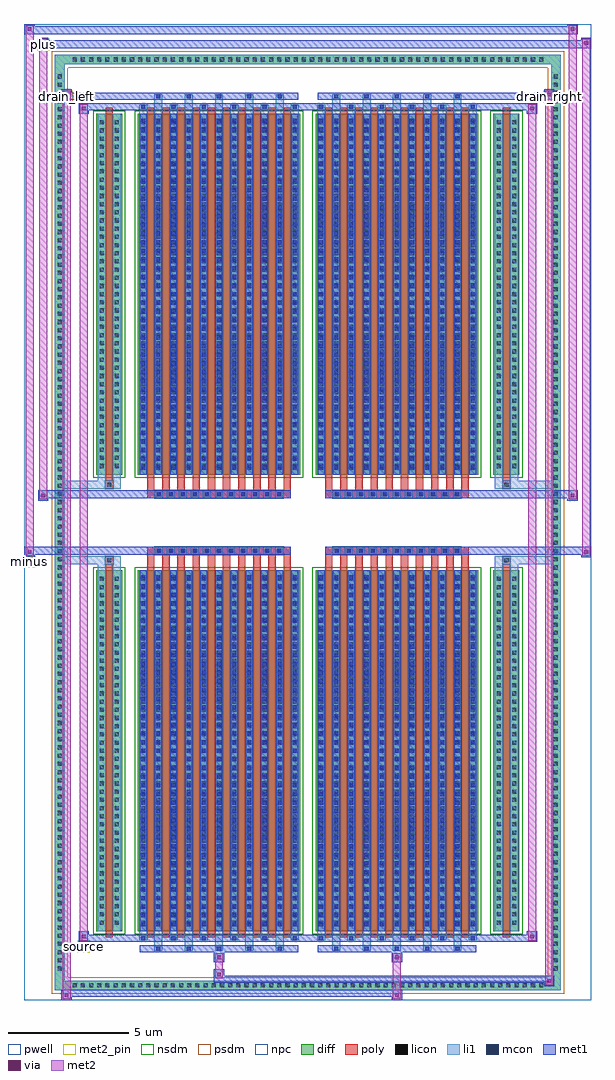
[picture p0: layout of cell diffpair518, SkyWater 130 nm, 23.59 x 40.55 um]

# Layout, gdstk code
import gdstk
lib = gdstk.Library(unit=1e-6, precision=5e-09)
def R(c, l, rs):  # rectangles x0, y0, x1, y1
    for r in rs: c.add(gdstk.rectangle(r[:2], r[2:], *l))
def A(c, l, x, y, w, h, nx, ny, dx, dy):  # array of equal rectangles
    R(c, l, [(x+i*dx, y+j*dy, x+i*dx+w, y+j*dy+h) for i in range(nx) for j in range(ny)])
def P(c, l, *ps):  # polygons
    for p in ps: c.add(gdstk.Polygon(p, *l))
pwell = (64, 44)
diff = (65, 20)
poly = (66, 20)
licon = (66, 44)
li1 = (67, 20)
mcon = (67, 44)
met1 = (68, 20)
via = (68, 44)
met2_pin = (69, 16)
met2 = (69, 20)
nsdm = (93, 44)
psdm = (94, 20)
npc = (95, 20)

diffpair518 = lib.new_cell('diffpair518')
R(diffpair518, pwell, [(-11.78,-19.84,11.78,20.71), (-9.1,-18.03,-0.01,-0.805), (0.01,-18.03,9.1,-0.805), (-9.1,0.805,-0.01,18.03), (0.01,0.805,9.1,18.03)])
A(diffpair518, diff, -9.895, -19.44, 0.41, 0.41, 58, 2, 0.34, 38.47)
A(diffpair518, diff, -10.51, -18.735, 0.41, 0.41, 1, 110, 0, 0.34)
A(diffpair518, diff, 10.1, -18.735, 0.41, 0.41, 1, 110, 0, 0.34)
R(diffpair518, diff, [(-9.895,-19.44,9.895,-19.03), (-10.51,-18.735,-10.1,18.735), (10.1,-18.735,10.51,18.735), (-8.79,-16.985,-7.71,-1.985), (-7.07,-16.985,-0.32,-1.985), (0.32,-16.985,7.07,-1.985), (7.71,-16.985,8.79,-1.985), (-8.79,1.985,-7.71,16.985), (-7.07,1.985,-0.32,16.985), (0.32,1.985,7.07,16.985), (7.71,1.985,8.79,16.985), (-9.895,19.03,9.895,19.44)])
P(diffpair518, diff, [(10.51,19.44),(-10.51,19.44),(-10.51,-19.03),(-10.1,-19.03),(-10.1,19.03),(10.1,19.03),(10.1,-19.03),(-10.1,-19.03),(-10.51,-19.03),(-10.51,-19.44),(10.51,-19.44)])
A(diffpair518, poly, -6.68, -17.235, 0.3, 15.5, 10, 2, 0.63, 18.97)
A(diffpair518, poly, 0.71, -17.235, 0.3, 15.5, 10, 2, 0.63, 18.97)
A(diffpair518, poly, -6.68, -1.735, 0.3, 0.4, 10, 2, 0.63, 3.07)
A(diffpair518, poly, 0.71, -1.735, 0.3, 0.4, 10, 2, 0.63, 3.07)
A(diffpair518, poly, -6.36, -1.335, 0.33, 0.33, 11, 2, 0.5, 2.34)
A(diffpair518, poly, 1.03, -1.335, 0.33, 0.33, 11, 2, 0.5, 2.34)
R(diffpair518, poly, [(-8.4,-17.235,-8.1,-1.735), (8.1,-17.235,8.4,-1.735), (-8.415,-1.735,-8.085,-1.405), (-8.415,-1.735,-8.085,-1.405), (8.085,-1.735,8.415,-1.405), (8.085,-1.735,8.415,-1.405), (-6.68,-1.335,-0.71,-1.005), (0.71,-1.335,6.68,-1.005), (-6.68,1.005,-0.71,1.335), (0.71,1.005,6.68,1.335), (-8.415,1.405,-8.085,1.735), (-8.415,1.405,-8.085,1.735), (8.085,1.405,8.415,1.735), (8.085,1.405,8.415,1.735), (-8.4,1.735,-8.1,17.235), (8.1,1.735,8.4,17.235)])
A(diffpair518, licon, -9.775, -19.32, 0.17, 0.17, 58, 2, 0.34, 38.47)
A(diffpair518, licon, -10.39, -18.615, 0.17, 0.17, 1, 110, 0, 0.34)
A(diffpair518, licon, 10.22, -18.615, 0.17, 0.17, 1, 110, 0, 0.34)
A(diffpair518, licon, -8.65, -16.71, 0.17, 0.17, 1, 43, 0, 0.34)
A(diffpair518, licon, -8.02, -16.71, 0.17, 0.17, 1, 43, 0, 0.34)
A(diffpair518, licon, -6.93, -16.71, 0.17, 0.17, 11, 43, 0.63, 0.34)
A(diffpair518, licon, 0.46, -16.71, 0.17, 0.17, 11, 43, 0.63, 0.34)
A(diffpair518, licon, 7.85, -16.71, 0.17, 0.17, 1, 43, 0, 0.34)
A(diffpair518, licon, 8.48, -16.71, 0.17, 0.17, 1, 43, 0, 0.34)
A(diffpair518, licon, -6.28, -1.255, 0.17, 0.17, 11, 2, 0.5, 2.34)
A(diffpair518, licon, 1.11, -1.255, 0.17, 0.17, 11, 2, 0.5, 2.34)
A(diffpair518, licon, -8.65, 2.26, 0.17, 0.17, 1, 43, 0, 0.34)
A(diffpair518, licon, -8.02, 2.26, 0.17, 0.17, 1, 43, 0, 0.34)
A(diffpair518, licon, -6.93, 2.26, 0.17, 0.17, 11, 43, 0.63, 0.34)
A(diffpair518, licon, 0.46, 2.26, 0.17, 0.17, 11, 43, 0.63, 0.34)
A(diffpair518, licon, 7.85, 2.26, 0.17, 0.17, 1, 43, 0, 0.34)
A(diffpair518, licon, 8.48, 2.26, 0.17, 0.17, 1, 43, 0, 0.34)
R(diffpair518, licon, [(-8.335,-1.655,-8.165,-1.485), (8.165,-1.655,8.335,-1.485), (-8.335,1.485,-8.165,1.655), (8.165,1.485,8.335,1.655)])
A(diffpair518, li1, -9.855, -19.4, 0.33, 0.33, 58, 2, 0.34, 38.47)
A(diffpair518, li1, -10.47, -18.695, 0.33, 0.33, 1, 110, 0, 0.34)
A(diffpair518, li1, 10.14, -18.695, 0.33, 0.33, 1, 110, 0, 0.34)
A(diffpair518, li1, -6.38, -17.79, 0.33, 0.805, 5, 2, 1.26, 34.775)
A(diffpair518, li1, -6.3, -17.79, 0.17, 0.17, 5, 2, 1.26, 35.41)
A(diffpair518, li1, 1.01, -17.79, 0.33, 0.805, 5, 2, 1.26, 34.775)
A(diffpair518, li1, 1.09, -17.79, 0.17, 0.17, 5, 2, 1.26, 35.41)
A(diffpair518, li1, -7.01, -17.36, 0.33, 0.375, 6, 2, 1.26, 34.345)
A(diffpair518, li1, -6.93, -17.36, 0.17, 0.17, 6, 2, 1.26, 34.55)
A(diffpair518, li1, 0.38, -17.36, 0.33, 0.375, 6, 2, 1.26, 34.345)
A(diffpair518, li1, 0.46, -17.36, 0.17, 0.17, 6, 2, 1.26, 34.55)
A(diffpair518, li1, -7.01, -16.985, 0.33, 15, 11, 2, 0.63, 18.97)
A(diffpair518, li1, 0.38, -16.985, 0.33, 15, 11, 2, 0.63, 18.97)
A(diffpair518, li1, -8.73, -16.79, 0.33, 0.33, 1, 43, 0, 0.34)
A(diffpair518, li1, -8.1, -16.79, 0.33, 0.33, 1, 43, 0, 0.34)
A(diffpair518, li1, -7.01, -16.79, 0.33, 0.33, 11, 43, 0.63, 0.34)
A(diffpair518, li1, 0.38, -16.79, 0.33, 0.33, 11, 43, 0.63, 0.34)
A(diffpair518, li1, 7.77, -16.79, 0.33, 0.33, 1, 43, 0, 0.34)
A(diffpair518, li1, 8.4, -16.79, 0.33, 0.33, 1, 43, 0, 0.34)
A(diffpair518, li1, -6.93, -16.77, 0.17, 0.17, 11, 41, 0.63, 0.36)
A(diffpair518, li1, -6.93, -16.77, 0.17, 14.57, 11, 2, 0.63, 18.97)
A(diffpair518, li1, 0.46, -16.77, 0.17, 0.17, 11, 41, 0.63, 0.36)
A(diffpair518, li1, 0.46, -16.77, 0.17, 14.57, 11, 2, 0.63, 18.97)
A(diffpair518, li1, -6.36, -1.335, 0.33, 0.33, 11, 2, 0.5, 2.34)
A(diffpair518, li1, 1.03, -1.335, 0.33, 0.33, 11, 2, 0.5, 2.34)
A(diffpair518, li1, -8.73, 2.18, 0.33, 0.33, 1, 43, 0, 0.34)
A(diffpair518, li1, -8.1, 2.18, 0.33, 0.33, 1, 43, 0, 0.34)
A(diffpair518, li1, -7.01, 2.18, 0.33, 0.33, 11, 43, 0.63, 0.34)
A(diffpair518, li1, 0.38, 2.18, 0.33, 0.33, 11, 43, 0.63, 0.34)
A(diffpair518, li1, 7.77, 2.18, 0.33, 0.33, 1, 43, 0, 0.34)
A(diffpair518, li1, 8.4, 2.18, 0.33, 0.33, 1, 43, 0, 0.34)
A(diffpair518, li1, -6.93, 2.2, 0.17, 0.17, 11, 41, 0.63, 0.36)
A(diffpair518, li1, 0.46, 2.2, 0.17, 0.17, 11, 41, 0.63, 0.36)
R(diffpair518, li1, [(-10.51,-19.44,-10.1,-19.03), (-10.51,-19.44,-10.1,-19.03), (-10.1,-19.44,10.1,-19.03), (10.1,-19.44,10.51,-19.03), (10.1,-19.44,10.51,-19.03), (-10.51,-19.03,-10.1,19.03), (10.1,-19.03,10.51,19.03), (-8.73,-16.985,-8.4,-1.985), (-8.1,-16.985,-7.77,-1.985), (7.77,-16.985,8.1,-1.985), (8.4,-16.985,8.73,-1.985), (-8.73,-1.985,-8.4,-1.405), (-8.1,-1.985,-7.77,-1.405), (7.77,-1.985,8.1,-1.405), (8.4,-1.985,8.73,-1.405), (-10.51,-1.735,-8.415,-1.405), (-8.73,-1.735,-8.415,-1.405), (-8.415,-1.735,-8.085,-1.405), (-8.085,-1.735,-7.77,-1.405), (7.77,-1.735,8.085,-1.405), (8.085,-1.735,8.415,-1.405), (8.085,-1.735,10.51,-1.405), (8.415,-1.735,8.73,-1.405), (-10.51,1.405,-8.415,1.735), (-8.73,1.405,-8.415,1.735), (-8.73,1.405,-8.4,1.985), (-8.415,1.405,-8.085,1.735), (-8.1,1.405,-7.77,1.985), (-8.085,1.405,-7.77,1.735), (7.77,1.405,8.085,1.735), (7.77,1.405,8.1,1.985), (8.085,1.405,8.415,1.735), (8.085,1.405,10.51,1.735), (8.4,1.405,8.73,1.985), (8.415,1.405,8.73,1.735), (-8.73,1.985,-8.4,16.985), (-8.1,1.985,-7.77,16.985), (7.77,1.985,8.1,16.985), (8.4,1.985,8.73,16.985), (-10.51,19.03,-10.1,19.44), (-10.51,19.03,-10.1,19.44), (-10.1,19.03,10.1,19.44), (10.1,19.03,10.51,19.44), (10.1,19.03,10.51,19.44)])
A(diffpair518, mcon, -6.3, -17.79, 0.17, 0.17, 5, 2, 1.26, 35.41)
A(diffpair518, mcon, 1.09, -17.79, 0.17, 0.17, 5, 2, 1.26, 35.41)
A(diffpair518, mcon, -6.93, -17.36, 0.17, 0.17, 6, 2, 1.26, 34.55)
A(diffpair518, mcon, 0.46, -17.36, 0.17, 0.17, 6, 2, 1.26, 34.55)
A(diffpair518, mcon, -6.93, -16.77, 0.17, 0.17, 11, 41, 0.63, 0.36)
A(diffpair518, mcon, 0.46, -16.77, 0.17, 0.17, 11, 41, 0.63, 0.36)
A(diffpair518, mcon, -6.28, -1.255, 0.17, 0.17, 11, 2, 0.5, 2.34)
A(diffpair518, mcon, 1.11, -1.255, 0.17, 0.17, 11, 2, 0.5, 2.34)
A(diffpair518, mcon, -6.93, 2.2, 0.17, 0.17, 11, 41, 0.63, 0.36)
A(diffpair518, mcon, 0.46, 2.2, 0.17, 0.17, 11, 41, 0.63, 0.36)
A(diffpair518, met1, -6.36, -17.85, 0.29, 0.29, 5, 2, 1.26, 35.41)
A(diffpair518, met1, 1.03, -17.85, 0.29, 0.29, 5, 2, 1.26, 35.41)
A(diffpair518, met1, -6.99, -17.42, 0.29, 0.29, 6, 2, 1.26, 34.55)
A(diffpair518, met1, 0.4, -17.42, 0.29, 0.29, 6, 2, 1.26, 34.55)
A(diffpair518, met1, -6.99, -16.985, 0.29, 15, 11, 2, 0.63, 18.97)
A(diffpair518, met1, 0.4, -16.985, 0.29, 15, 11, 2, 0.63, 18.97)
A(diffpair518, met1, -6.99, -16.83, 0.29, 0.29, 11, 41, 0.63, 0.36)
A(diffpair518, met1, 0.4, -16.83, 0.29, 0.29, 11, 41, 0.63, 0.36)
A(diffpair518, met1, -6.34, -1.315, 0.29, 0.29, 11, 2, 0.5, 2.34)
A(diffpair518, met1, 1.05, -1.315, 0.29, 0.29, 11, 2, 0.5, 2.34)
A(diffpair518, met1, -6.99, 2.14, 0.29, 0.29, 11, 41, 0.63, 0.36)
A(diffpair518, met1, 0.4, 2.14, 0.29, 0.29, 11, 41, 0.63, 0.36)
R(diffpair518, met1, [(-10.24,-19.84,-9.81,-19.41), (3.48,-19.84,3.91,-19.41), (-10.24,-19.7,3.91,-19.41), (9.81,-19.27,10.24,-18.84), (-3.91,-19.13,10.24,-18.84), (-3.91,-18.99,-3.48,-18.56), (-3.91,-18.28,-3.48,-17.85), (3.48,-18.28,3.91,-17.85), (-6.99,-17.85,-0.4,-17.56), (0.4,-17.85,6.99,-17.56), (-9.53,-17.42,-9.1,-16.99), (-9.53,-17.42,-6.99,-17.13), (-6.99,-17.42,-0.4,-17.13), (-0.4,-17.42,0.4,-17.13), (0.4,-17.42,6.99,-17.13), (6.99,-17.42,9.53,-17.13), (9.1,-17.42,9.53,-16.99), (-11.78,-1.435,-11.35,-1.005), (11.35,-1.435,11.78,-1.005), (-11.78,-1.335,-0.71,-1.005), (-6.68,-1.335,-0.71,-1.005), (0.71,-1.335,6.68,-1.005), (0.71,-1.335,11.78,-1.005), (-11.21,0.905,-10.78,1.335), (10.78,0.905,11.21,1.335), (-11.21,1.005,-6.68,1.335), (-6.68,1.005,-0.71,1.335), (0.71,1.005,6.68,1.335), (6.68,1.005,11.21,1.335), (-9.53,16.99,-9.1,17.42), (9.1,16.99,9.53,17.42), (-9.53,17.13,-6.99,17.42), (-6.99,17.13,-0.4,17.42), (-0.4,17.13,0.4,17.42), (0.4,17.13,6.99,17.42), (6.99,17.13,9.53,17.42), (-10.24,17.56,-9.81,17.99), (-10.24,17.56,-6.99,17.85), (-6.99,17.56,-0.4,17.85), (0.4,17.56,6.99,17.85), (6.99,17.56,10.24,17.85), (9.81,17.56,10.24,17.99), (-11.21,19.71,-10.78,20.14), (-11.21,19.71,-9.1,20.04), (-9.1,19.71,9.1,20.04), (9.1,19.71,11.78,20.04), (11.35,19.71,11.78,20.14), (-11.78,20.28,-11.35,20.71), (-11.78,20.28,-9.1,20.61), (-9.1,20.28,9.1,20.61), (9.1,20.28,11.21,20.61), (10.78,20.28,11.21,20.71)])
R(diffpair518, via, [(-10.1,-19.7,-9.95,-19.55), (3.62,-19.7,3.77,-19.55), (9.95,-19.13,10.1,-18.98), (-3.77,-18.85,-3.62,-18.7), (-3.77,-18.14,-3.62,-17.99), (3.62,-18.14,3.77,-17.99), (-9.39,-17.28,-9.24,-17.13), (9.24,-17.28,9.39,-17.13), (-11.64,-1.295,-11.49,-1.145), (11.49,-1.295,11.64,-1.145), (-11.07,1.045,-10.92,1.195), (10.92,1.045,11.07,1.195), (-9.39,17.13,-9.24,17.28), (9.24,17.13,9.39,17.28), (-10.1,17.7,-9.95,17.85), (9.95,17.7,10.1,17.85), (-11.07,19.85,-10.92,20), (11.49,19.85,11.64,20), (-11.64,20.42,-11.49,20.57), (10.92,20.42,11.07,20.57)])
R(diffpair518, met2_pin, [(-9.565,-17.87,-9.065,-17.37), (-11.815,-1.885,-11.315,-1.385), (-10.275,17.44,-9.775,17.94), (9.775,17.44,10.275,17.94), (-11.245,19.59,-10.745,20.09)])
R(diffpair518, met2, [(-10.19,-19.79,-9.86,-19.46), (-10.19,-19.79,-9.86,17.94), (3.53,-19.79,3.86,-19.46), (3.53,-19.46,3.86,-18.23), (9.86,-19.22,10.19,-18.89), (9.86,-19.22,10.19,17.94), (-3.86,-18.94,-3.53,-18.61), (-3.86,-18.61,-3.53,-18.23), (-3.86,-18.23,-3.53,-17.9), (3.53,-18.23,3.86,-17.9), (-9.48,-17.37,-9.15,-17.04), (-9.48,-17.37,-9.15,17.37), (9.15,-17.37,9.48,-17.04), (9.15,-17.37,9.48,17.37), (-11.73,-1.385,-11.4,-1.055), (-11.73,-1.385,-11.4,20.66), (11.4,-1.385,11.73,-1.055), (11.4,-1.385,11.73,20.09), (-11.16,0.955,-10.83,1.285), (-11.16,0.955,-10.83,20.09), (10.83,0.955,11.16,1.285), (10.83,0.955,11.16,20.66), (-9.48,17.04,-9.15,17.37), (9.15,17.04,9.48,17.37), (-10.19,17.61,-9.86,17.94), (9.86,17.61,10.19,17.94), (-11.16,19.76,-10.83,20.09), (11.4,19.76,11.73,20.09), (-11.73,20.33,-11.4,20.66), (10.83,20.33,11.16,20.66)])
P(diffpair518, met2, [(11.73,-1.385),(11.73,-1.385),(11.73,-1.055),(11.73,-1.055)],
  [(11.73,19.76),(11.73,19.76),(11.73,20.09),(11.73,20.09)],
  [(-11.4,-1.385),(-11.4,-1.385),(-11.4,-1.055),(-11.4,-1.055)],
  [(-11.4,20.33),(-11.4,20.33),(-11.4,20.66),(-11.4,20.66)],
  [(11.16,0.955),(11.16,0.955),(11.16,1.285),(11.16,1.285)],
  [(11.16,20.33),(11.16,20.33),(11.16,20.66),(11.16,20.66)],
  [(-10.83,0.955),(-10.83,0.955),(-10.83,1.285),(-10.83,1.285)],
  [(-10.83,19.76),(-10.83,19.76),(-10.83,20.09),(-10.83,20.09)],
  [(-9.86,-19.79),(-9.86,-19.79),(-9.86,-19.46),(-9.86,-19.46)],
  [(-9.86,17.61),(-9.86,17.61),(-9.86,17.94),(-9.86,17.94)],
  [(10.19,-19.22),(10.19,-19.22),(10.19,-18.89),(10.19,-18.89)],
  [(10.19,17.61),(10.19,17.61),(10.19,17.94),(10.19,17.94)],
  [(-9.15,-17.37),(-9.15,-17.37),(-9.15,-17.04),(-9.15,-17.04)],
  [(-9.15,17.04),(-9.15,17.04),(-9.15,17.37),(-9.15,17.37)],
  [(9.48,-17.37),(9.48,-17.37),(9.48,-17.04),(9.48,-17.04)],
  [(9.48,17.04),(9.48,17.04),(9.48,17.37),(9.48,17.37)])
R(diffpair518, nsdm, [(-8.92,-17.115,-7.58,-1.855), (-7.2,-17.115,-0.19,-1.855), (0.19,-17.115,7.2,-1.855), (7.58,-17.115,8.92,-1.855), (-8.92,1.855,-7.58,17.115), (-7.2,1.855,-0.19,17.115), (0.19,1.855,7.2,17.115), (7.58,1.855,8.92,17.115)])
P(diffpair518, psdm, [(10.64,19.57),(-10.64,19.57),(-10.64,-18.9),(-9.97,-18.9),(-9.97,18.9),(9.97,18.9),(9.97,-18.9),(-9.97,-18.9),(-10.64,-18.9),(-10.64,-19.57),(10.64,-19.57)])
A(diffpair518, npc, -6.38, -1.355, 0.37, 0.37, 11, 2, 0.5, 2.34)
A(diffpair518, npc, 1.01, -1.355, 0.37, 0.37, 11, 2, 0.5, 2.34)
R(diffpair518, npc, [(-8.435,-1.755,-8.065,-1.385), (8.065,-1.755,8.435,-1.385), (-6.38,-1.355,-5.51,-0.985), (-6.38,-1.355,-5.51,-0.985), (-5.88,-1.355,-5.01,-0.985), (-5.88,-1.355,-5.01,-0.985), (-5.38,-1.355,-4.51,-0.985), (-5.38,-1.355,-4.51,-0.985), (-4.88,-1.355,-4.01,-0.985), (-4.88,-1.355,-4.01,-0.985), (-4.38,-1.355,-3.51,-0.985), (-4.38,-1.355,-3.51,-0.985), (-3.88,-1.355,-3.01,-0.985), (-3.88,-1.355,-3.01,-0.985), (-3.38,-1.355,-2.51,-0.985), (-3.38,-1.355,-2.51,-0.985), (-2.88,-1.355,-2.01,-0.985), (-2.88,-1.355,-2.01,-0.985), (-2.38,-1.355,-1.51,-0.985), (-2.38,-1.355,-1.51,-0.985), (-1.88,-1.355,-1.01,-0.985), (-1.88,-1.355,-1.01,-0.985), (1.01,-1.355,1.88,-0.985), (1.01,-1.355,1.88,-0.985), (1.51,-1.355,2.38,-0.985), (1.51,-1.355,2.38,-0.985), (2.01,-1.355,2.88,-0.985), (2.01,-1.355,2.88,-0.985), (2.51,-1.355,3.38,-0.985), (2.51,-1.355,3.38,-0.985), (3.01,-1.355,3.88,-0.985), (3.01,-1.355,3.88,-0.985), (3.51,-1.355,4.38,-0.985), (3.51,-1.355,4.38,-0.985), (4.01,-1.355,4.88,-0.985), (4.01,-1.355,4.88,-0.985), (4.51,-1.355,5.38,-0.985), (4.51,-1.355,5.38,-0.985), (5.01,-1.355,5.88,-0.985), (5.01,-1.355,5.88,-0.985), (5.51,-1.355,6.38,-0.985), (5.51,-1.355,6.38,-0.985), (-6.38,0.985,-5.51,1.355), (-6.38,0.985,-5.51,1.355), (-5.88,0.985,-5.01,1.355), (-5.88,0.985,-5.01,1.355), (-5.38,0.985,-4.51,1.355), (-5.38,0.985,-4.51,1.355), (-4.88,0.985,-4.01,1.355), (-4.88,0.985,-4.01,1.355), (-4.38,0.985,-3.51,1.355), (-4.38,0.985,-3.51,1.355), (-3.88,0.985,-3.01,1.355), (-3.88,0.985,-3.01,1.355), (-3.38,0.985,-2.51,1.355), (-3.38,0.985,-2.51,1.355), (-2.88,0.985,-2.01,1.355), (-2.88,0.985,-2.01,1.355), (-2.38,0.985,-1.51,1.355), (-2.38,0.985,-1.51,1.355), (-1.88,0.985,-1.01,1.355), (-1.88,0.985,-1.01,1.355), (1.01,0.985,1.88,1.355), (1.01,0.985,1.88,1.355), (1.51,0.985,2.38,1.355), (1.51,0.985,2.38,1.355), (2.01,0.985,2.88,1.355), (2.01,0.985,2.88,1.355), (2.51,0.985,3.38,1.355), (2.51,0.985,3.38,1.355), (3.01,0.985,3.88,1.355), (3.01,0.985,3.88,1.355), (3.51,0.985,4.38,1.355), (3.51,0.985,4.38,1.355), (4.01,0.985,4.88,1.355), (4.01,0.985,4.88,1.355), (4.51,0.985,5.38,1.355), (4.51,0.985,5.38,1.355), (5.01,0.985,5.88,1.355), (5.01,0.985,5.88,1.355), (5.51,0.985,6.38,1.355), (5.51,0.985,6.38,1.355), (-8.435,1.385,-8.065,1.755), (8.065,1.385,8.435,1.755)])
diffpair518.add(gdstk.Label('minus', (-11.565,-1.635), layer=69, texttype=5))
diffpair518.add(gdstk.Label('drain_right', (10.025,17.69), layer=69, texttype=5))
diffpair518.add(gdstk.Label('drain_left', (-10.025,17.69), layer=69, texttype=5))
diffpair518.add(gdstk.Label('source', (-9.315,-17.62), layer=69, texttype=5))
diffpair518.add(gdstk.Label('plus', (-10.995,19.84), layer=69, texttype=5))

lib.write_gds('diffpair518.gds')
